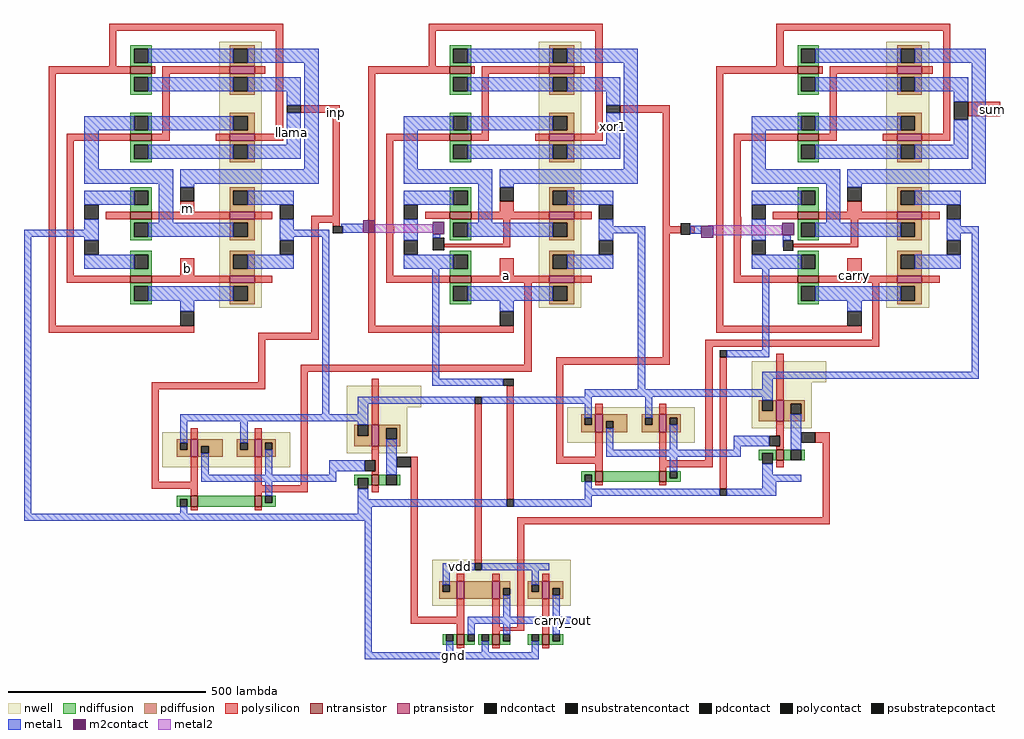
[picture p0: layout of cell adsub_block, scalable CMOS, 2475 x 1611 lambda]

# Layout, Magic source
magic
tech scmos
<< nwell >>
rect -756 108 -648 783
rect 54 108 162 783
rect 936 108 1044 783
rect 594 -81 783 -27
rect -432 -144 -243 -90
rect -900 -297 -576 -207
rect -432 -252 -279 -144
rect 126 -234 450 -144
rect 594 -189 747 -81
rect 594 -198 657 -189
rect 675 -198 747 -189
rect -432 -261 -369 -252
rect -351 -261 -279 -252
rect -216 -648 135 -531
<< ntransistor >>
rect -981 702 -927 720
rect -171 702 -117 720
rect -981 531 -927 549
rect -981 333 -927 351
rect -981 171 -927 189
rect 711 702 765 720
rect -171 531 -117 549
rect -171 334 -117 351
rect -166 333 -117 334
rect -171 171 -117 189
rect 711 531 765 549
rect 711 333 765 351
rect 711 171 765 189
rect -369 -342 -351 -315
rect -828 -396 -810 -369
rect -666 -396 -648 -369
rect 198 -333 216 -306
rect 360 -333 378 -306
rect 657 -279 675 -252
rect -153 -747 -135 -720
rect -63 -747 -45 -720
rect 63 -747 81 -720
<< ptransistor >>
rect -729 702 -666 720
rect 81 702 144 720
rect -729 531 -666 549
rect -729 333 -666 351
rect -729 171 -666 189
rect 963 702 1026 720
rect 81 531 144 549
rect 81 333 144 351
rect 81 171 144 189
rect 963 531 1026 549
rect 963 333 1026 351
rect 963 171 1026 189
rect -828 -270 -810 -225
rect -666 -270 -648 -225
rect -369 -243 -351 -189
rect 198 -207 216 -162
rect 360 -207 378 -162
rect 657 -180 675 -126
rect -153 -630 -135 -585
rect -63 -630 -45 -585
rect 63 -630 81 -585
<< ndiffusion >>
rect -981 765 -927 774
rect -981 729 -972 765
rect -936 729 -927 765
rect -981 720 -927 729
rect -981 693 -927 702
rect -981 657 -972 693
rect -936 657 -927 693
rect -981 648 -927 657
rect -981 594 -927 603
rect -981 558 -972 594
rect -936 558 -927 594
rect -981 549 -927 558
rect -171 765 -117 774
rect -171 729 -162 765
rect -126 729 -117 765
rect -171 720 -117 729
rect -981 522 -927 531
rect -981 486 -972 522
rect -936 486 -927 522
rect -981 477 -927 486
rect -981 405 -927 414
rect -981 369 -972 405
rect -936 369 -927 405
rect -981 351 -927 369
rect -981 324 -927 333
rect -981 288 -972 324
rect -936 288 -927 324
rect -981 279 -927 288
rect -981 243 -927 252
rect -981 207 -972 243
rect -936 207 -927 243
rect -981 189 -927 207
rect -981 162 -927 171
rect -981 126 -972 162
rect -936 126 -927 162
rect -981 117 -927 126
rect -171 693 -117 702
rect -171 657 -162 693
rect -126 657 -117 693
rect -171 648 -117 657
rect -171 594 -117 603
rect -171 558 -162 594
rect -126 558 -117 594
rect -171 549 -117 558
rect 711 765 765 774
rect 711 729 720 765
rect 756 729 765 765
rect 711 720 765 729
rect -171 522 -117 531
rect -171 486 -162 522
rect -126 486 -117 522
rect -171 477 -117 486
rect -171 405 -117 414
rect -171 369 -162 405
rect -126 369 -117 405
rect -171 351 -117 369
rect -171 333 -166 334
rect -171 324 -117 333
rect -171 288 -162 324
rect -126 288 -117 324
rect -171 279 -117 288
rect -171 243 -117 252
rect -171 207 -162 243
rect -126 207 -117 243
rect -171 189 -117 207
rect -171 162 -117 171
rect -171 126 -162 162
rect -126 126 -117 162
rect -171 117 -117 126
rect 711 693 765 702
rect 711 657 720 693
rect 756 657 765 693
rect 711 648 765 657
rect 711 594 765 603
rect 711 558 720 594
rect 756 558 765 594
rect 711 549 765 558
rect 711 522 765 531
rect 711 486 720 522
rect 756 486 765 522
rect 711 477 765 486
rect 711 405 765 414
rect 711 369 720 405
rect 756 369 765 405
rect 711 351 765 369
rect 711 324 765 333
rect 711 288 720 324
rect 756 288 765 324
rect 711 279 765 288
rect 711 243 765 252
rect 711 207 720 243
rect 756 207 765 243
rect 711 189 765 207
rect 711 162 765 171
rect 711 126 720 162
rect 756 126 765 162
rect 711 117 765 126
rect -414 -324 -369 -315
rect -414 -342 -405 -324
rect -378 -342 -369 -324
rect -351 -342 -333 -315
rect -306 -342 -297 -315
rect -864 -378 -828 -369
rect -864 -396 -855 -378
rect -837 -396 -828 -378
rect -810 -396 -666 -369
rect -648 -387 -639 -369
rect -621 -387 -612 -369
rect -648 -396 -612 -387
rect 162 -315 198 -306
rect 162 -333 171 -315
rect 189 -333 198 -315
rect 216 -333 360 -306
rect 378 -324 387 -306
rect 405 -324 414 -306
rect 378 -333 414 -324
rect 612 -261 657 -252
rect 612 -279 621 -261
rect 648 -279 657 -261
rect 675 -279 693 -252
rect 720 -279 729 -252
rect -189 -738 -180 -720
rect -162 -738 -153 -720
rect -189 -747 -153 -738
rect -135 -738 -126 -720
rect -135 -747 -108 -738
rect -99 -738 -90 -720
rect -72 -738 -63 -720
rect -99 -747 -63 -738
rect -45 -738 -36 -720
rect -45 -747 -18 -738
rect 27 -738 36 -720
rect 54 -738 63 -720
rect 27 -747 63 -738
rect 81 -738 90 -720
rect 108 -738 117 -720
rect 81 -747 117 -738
<< pdiffusion >>
rect -729 765 -666 774
rect -729 729 -720 765
rect -684 729 -666 765
rect -729 720 -666 729
rect -729 693 -666 702
rect -729 657 -720 693
rect -684 657 -666 693
rect -729 648 -666 657
rect -729 594 -666 603
rect -729 558 -720 594
rect -684 558 -666 594
rect -729 549 -666 558
rect 81 765 144 774
rect 81 729 90 765
rect 126 729 144 765
rect 81 720 144 729
rect -729 522 -666 531
rect -729 486 -720 522
rect -684 486 -666 522
rect -729 477 -666 486
rect -729 405 -666 414
rect -729 369 -720 405
rect -684 369 -666 405
rect -729 351 -666 369
rect -729 324 -666 333
rect -729 288 -720 324
rect -684 288 -666 324
rect -729 279 -666 288
rect -729 243 -666 252
rect -729 207 -720 243
rect -684 207 -666 243
rect -729 189 -666 207
rect -729 162 -666 171
rect -729 126 -720 162
rect -684 126 -666 162
rect -729 117 -666 126
rect 81 693 144 702
rect 81 657 90 693
rect 126 657 144 693
rect 81 648 144 657
rect 81 594 144 603
rect 81 558 90 594
rect 126 558 144 594
rect 81 549 144 558
rect 963 765 1026 774
rect 963 729 972 765
rect 1008 729 1026 765
rect 963 720 1026 729
rect 81 522 144 531
rect 81 486 90 522
rect 126 486 144 522
rect 81 477 144 486
rect 81 405 144 414
rect 81 369 90 405
rect 126 369 144 405
rect 81 351 144 369
rect 81 324 144 333
rect 81 288 90 324
rect 126 288 144 324
rect 81 279 144 288
rect 81 243 144 252
rect 81 207 90 243
rect 126 207 144 243
rect 81 189 144 207
rect 81 162 144 171
rect 81 126 90 162
rect 126 126 144 162
rect 81 117 144 126
rect 963 693 1026 702
rect 963 657 972 693
rect 1008 657 1026 693
rect 963 648 1026 657
rect 963 594 1026 603
rect 963 558 972 594
rect 1008 558 1026 594
rect 963 549 1026 558
rect 963 522 1026 531
rect 963 486 972 522
rect 1008 486 1026 522
rect 963 477 1026 486
rect 963 405 1026 414
rect 963 369 972 405
rect 1008 369 1026 405
rect 963 351 1026 369
rect 963 324 1026 333
rect 963 288 972 324
rect 1008 288 1026 324
rect 963 279 1026 288
rect 963 243 1026 252
rect 963 207 972 243
rect 1008 207 1026 243
rect 963 189 1026 207
rect 963 162 1026 171
rect 963 126 972 162
rect 1008 126 1026 162
rect 963 117 1026 126
rect -864 -234 -828 -225
rect -864 -252 -855 -234
rect -837 -252 -828 -234
rect -864 -270 -828 -252
rect -810 -243 -747 -225
rect -810 -261 -801 -243
rect -783 -261 -747 -243
rect -810 -270 -747 -261
rect -711 -234 -666 -225
rect -711 -252 -702 -234
rect -684 -252 -666 -234
rect -711 -270 -666 -252
rect -648 -234 -612 -225
rect -648 -252 -639 -234
rect -621 -252 -612 -234
rect -648 -270 -612 -252
rect -414 -216 -405 -189
rect -378 -216 -369 -189
rect -414 -243 -369 -216
rect -351 -198 -297 -189
rect -351 -225 -333 -198
rect -306 -225 -297 -198
rect -351 -243 -297 -225
rect 162 -171 198 -162
rect 162 -189 171 -171
rect 189 -189 198 -171
rect 162 -207 198 -189
rect 216 -180 279 -162
rect 216 -198 225 -180
rect 243 -198 279 -180
rect 216 -207 279 -198
rect 315 -171 360 -162
rect 315 -189 324 -171
rect 342 -189 360 -171
rect 315 -207 360 -189
rect 378 -171 414 -162
rect 378 -189 387 -171
rect 405 -189 414 -171
rect 378 -207 414 -189
rect 612 -153 621 -126
rect 648 -153 657 -126
rect 612 -180 657 -153
rect 675 -135 729 -126
rect 675 -162 693 -135
rect 720 -162 729 -135
rect 675 -180 729 -162
rect -198 -594 -153 -585
rect -198 -612 -189 -594
rect -171 -612 -153 -594
rect -198 -630 -153 -612
rect -135 -630 -63 -585
rect -45 -603 -18 -585
rect -45 -621 -36 -603
rect -45 -630 -18 -621
rect 27 -594 63 -585
rect 27 -612 36 -594
rect 54 -612 63 -594
rect 27 -630 63 -612
rect 81 -603 117 -585
rect 81 -621 90 -603
rect 108 -621 117 -603
rect 81 -630 117 -621
<< ndcontact >>
rect -972 729 -936 765
rect -972 657 -936 693
rect -972 558 -936 594
rect -162 729 -126 765
rect -972 486 -936 522
rect -972 369 -936 405
rect -972 288 -936 324
rect -972 207 -936 243
rect -972 126 -936 162
rect -162 657 -126 693
rect -162 558 -126 594
rect 720 729 756 765
rect -162 486 -126 522
rect -162 369 -126 405
rect -162 288 -126 324
rect -162 207 -126 243
rect -162 126 -126 162
rect 720 657 756 693
rect 720 558 756 594
rect 720 486 756 522
rect 720 369 756 405
rect 720 288 756 324
rect 720 207 756 243
rect 720 126 756 162
rect -405 -351 -378 -324
rect -333 -342 -306 -315
rect -855 -396 -837 -378
rect -639 -387 -621 -369
rect 171 -333 189 -315
rect 387 -324 405 -306
rect 621 -288 648 -261
rect 693 -279 720 -252
rect -180 -738 -162 -720
rect -126 -738 -108 -720
rect -90 -738 -72 -720
rect -36 -738 -18 -720
rect 36 -738 54 -720
rect 90 -738 108 -720
<< pdcontact >>
rect -720 729 -684 765
rect -720 657 -684 693
rect -720 558 -684 594
rect 90 729 126 765
rect -720 486 -684 522
rect -720 369 -684 405
rect -720 288 -684 324
rect -720 207 -684 243
rect -720 126 -684 162
rect 90 657 126 693
rect 90 558 126 594
rect 972 729 1008 765
rect 90 486 126 522
rect 90 369 126 405
rect 90 288 126 324
rect 90 207 126 243
rect 90 126 126 162
rect 972 657 1008 693
rect 972 558 1008 594
rect 972 486 1008 522
rect 972 369 1008 405
rect 972 288 1008 324
rect 972 207 1008 243
rect 972 126 1008 162
rect -855 -252 -837 -234
rect -801 -261 -783 -243
rect -702 -252 -684 -234
rect -639 -252 -621 -234
rect -405 -216 -378 -189
rect -333 -225 -306 -198
rect 171 -189 189 -171
rect 225 -198 243 -180
rect 324 -189 342 -171
rect 387 -189 405 -171
rect 621 -153 648 -126
rect 693 -162 720 -135
rect -189 -612 -171 -594
rect -36 -621 -18 -603
rect 36 -612 54 -594
rect 90 -621 108 -603
<< psubstratepcontact >>
rect -1098 333 -1062 369
rect -1098 243 -1062 279
rect -288 333 -252 369
rect -288 243 -252 279
rect 594 333 630 369
rect 594 243 630 279
<< nsubstratencontact >>
rect -603 333 -567 369
rect -603 243 -567 279
rect 207 333 243 369
rect 207 243 243 279
rect 1089 333 1125 369
rect 1089 243 1125 279
<< polysilicon >>
rect -1035 810 -594 828
rect -1035 720 -1017 810
rect -1188 702 -981 720
rect -927 702 -918 720
rect -900 702 -729 720
rect -666 702 -639 720
rect -1188 63 -1170 702
rect -900 549 -882 702
rect -612 549 -594 810
rect -225 810 216 828
rect -225 720 -207 810
rect -378 702 -171 720
rect -117 702 -108 720
rect -90 702 81 720
rect 144 702 171 720
rect -549 603 -450 621
rect -1143 531 -981 549
rect -927 531 -882 549
rect -765 531 -729 549
rect -666 531 -594 549
rect -1143 189 -1125 531
rect -855 351 -819 378
rect -1044 333 -981 351
rect -927 333 -729 351
rect -666 333 -621 351
rect -468 342 -450 603
rect -522 324 -450 342
rect -855 189 -819 234
rect -1143 171 -981 189
rect -927 171 -729 189
rect -666 171 -621 189
rect -1188 45 -819 63
rect -522 45 -504 324
rect -468 315 -450 324
rect -443 297 -441 315
rect -378 63 -360 702
rect -90 549 -72 702
rect 198 549 216 810
rect 657 810 1098 828
rect 657 720 675 810
rect 504 702 711 720
rect 765 702 774 720
rect 792 702 963 720
rect 1026 702 1053 720
rect 261 603 387 621
rect -333 531 -171 549
rect -117 531 -72 549
rect 45 531 81 549
rect 144 531 216 549
rect -333 315 -315 531
rect -45 351 -9 378
rect -234 334 -171 351
rect -117 333 81 351
rect 144 333 189 351
rect -333 297 -312 315
rect -333 189 -315 297
rect -36 270 -18 333
rect 369 315 387 603
rect 369 297 414 315
rect -185 261 -18 270
rect -45 189 -9 234
rect -333 171 -171 189
rect -117 171 81 189
rect 144 171 189 189
rect -378 45 -9 63
rect -657 27 -504 45
rect -657 -81 -639 27
rect 18 -36 36 171
rect 369 -18 387 297
rect 438 297 450 315
rect 504 63 522 702
rect 792 549 810 702
rect 1080 549 1098 810
rect 1143 594 1224 630
rect 549 531 711 549
rect 765 531 810 549
rect 927 531 963 549
rect 1026 531 1098 549
rect 549 337 567 531
rect 549 285 568 337
rect 837 351 873 378
rect 648 333 711 351
rect 765 333 963 351
rect 1026 333 1071 351
rect 549 189 567 285
rect 846 270 864 333
rect 700 261 864 270
rect 837 189 873 234
rect 549 171 711 189
rect 765 171 963 189
rect 1026 171 1071 189
rect 504 45 873 63
rect 900 27 918 171
rect -927 -99 -639 -81
rect -549 -54 36 -36
rect 99 -36 387 -18
rect 477 9 918 27
rect -927 -333 -909 -99
rect -828 -225 -810 -198
rect -666 -225 -648 -198
rect -828 -333 -810 -270
rect -927 -351 -810 -333
rect -828 -369 -810 -351
rect -666 -342 -648 -270
rect -549 -342 -531 -54
rect -369 -189 -351 -72
rect -369 -279 -351 -243
rect -360 -306 -351 -279
rect -369 -315 -351 -306
rect -666 -360 -531 -342
rect -369 -360 -351 -342
rect -666 -369 -648 -360
rect -828 -405 -810 -396
rect -666 -405 -648 -396
rect -270 -675 -252 -270
rect -108 -540 -90 -135
rect -27 -378 -9 -90
rect 99 -270 117 -36
rect 198 -162 216 -135
rect 360 -162 378 -135
rect 198 -270 216 -207
rect 99 -288 216 -270
rect 198 -306 216 -288
rect 360 -279 378 -207
rect 477 -279 495 9
rect 360 -297 495 -279
rect 360 -306 378 -297
rect 198 -342 216 -333
rect 360 -342 378 -333
rect 513 -351 531 -18
rect 657 -126 675 -9
rect 657 -216 675 -180
rect 666 -243 675 -216
rect 756 -234 792 -207
rect 657 -252 675 -243
rect 657 -297 675 -279
rect 774 -423 792 -234
rect 0 -441 792 -423
rect -153 -585 -135 -567
rect -63 -585 -45 -567
rect -153 -675 -135 -630
rect -270 -693 -135 -675
rect -153 -720 -135 -693
rect -63 -702 -45 -630
rect 0 -702 18 -441
rect 63 -585 81 -567
rect -63 -711 18 -702
rect 63 -675 81 -630
rect 72 -693 81 -675
rect -63 -720 -45 -711
rect 63 -720 81 -693
rect -153 -756 -135 -747
rect -63 -756 -45 -747
rect 63 -756 81 -747
<< polycontact >>
rect -585 603 -549 621
rect -855 378 -819 414
rect -855 63 -819 99
rect -468 297 -443 315
rect 225 603 261 621
rect -45 378 -9 414
rect -214 254 -185 286
rect -45 63 -9 99
rect 414 293 438 322
rect 1107 585 1143 630
rect 837 378 873 414
rect 674 253 700 279
rect 837 63 873 99
rect -36 -90 -9 -72
rect -108 -135 -90 -117
rect -387 -306 -360 -279
rect -306 -297 -270 -270
rect 513 -18 531 0
rect 639 -243 666 -216
rect 720 -234 756 -207
rect 513 -369 531 -351
rect -27 -396 -9 -378
rect -108 -558 -90 -540
rect 63 -693 72 -675
<< metal1 >>
rect -936 729 -720 765
rect -684 729 -504 765
rect -126 729 90 765
rect 126 729 306 765
rect 756 729 972 765
rect 1008 729 1188 765
rect -936 657 -720 693
rect -684 657 -549 693
rect -585 621 -549 657
rect -1098 558 -972 594
rect -936 558 -720 594
rect -1098 459 -1062 558
rect -585 522 -549 603
rect -936 486 -720 522
rect -684 486 -549 522
rect -540 459 -504 729
rect -126 657 90 693
rect 126 657 261 693
rect 225 621 261 657
rect -1098 423 -873 459
rect -1098 369 -972 405
rect -1098 306 -1062 333
rect -909 324 -873 423
rect -855 423 -504 459
rect -288 558 -162 594
rect -126 558 90 594
rect -288 459 -252 558
rect 225 522 261 603
rect -126 486 90 522
rect 126 486 261 522
rect 270 459 306 729
rect 756 657 972 693
rect 1008 657 1143 693
rect 1107 630 1143 657
rect -288 423 -63 459
rect -855 414 -819 423
rect -684 369 -567 405
rect -1251 288 -1062 306
rect -936 288 -720 324
rect -603 306 -567 333
rect -288 369 -162 405
rect -447 315 -391 321
rect -603 288 -477 306
rect -443 298 -391 315
rect -1251 -414 -1233 288
rect -1098 279 -1062 288
rect -603 279 -567 288
rect -1098 207 -972 243
rect -684 207 -567 243
rect -936 126 -720 162
rect -855 99 -819 126
rect -495 -162 -477 288
rect -288 279 -252 333
rect -99 324 -63 423
rect -45 423 306 459
rect 594 558 720 594
rect 756 558 972 594
rect 594 459 630 558
rect 1107 522 1143 585
rect 756 486 972 522
rect 1008 486 1143 522
rect 1152 459 1188 729
rect 594 423 819 459
rect -45 414 -9 423
rect 126 369 243 405
rect -214 286 -195 294
rect -126 288 90 324
rect 207 315 243 333
rect 594 369 720 405
rect 207 297 324 315
rect 207 279 243 297
rect -288 207 -162 243
rect 126 207 243 243
rect -216 -72 -198 207
rect -126 126 90 162
rect -45 99 -9 126
rect -216 -90 -36 -72
rect 306 -99 324 297
rect 438 296 467 316
rect 594 315 630 333
rect 783 324 819 423
rect 837 423 1188 459
rect 837 414 873 423
rect 1008 369 1125 405
rect 593 297 630 315
rect 594 279 630 297
rect 673 279 693 292
rect 756 288 972 324
rect 1089 315 1125 333
rect 1089 297 1170 315
rect 1089 279 1125 297
rect 673 263 674 279
rect 594 207 720 243
rect 1008 207 1125 243
rect 621 0 639 207
rect 756 126 972 162
rect 837 99 873 126
rect 531 -18 639 0
rect 1152 -54 1170 297
rect 621 -72 1170 -54
rect 621 -99 648 -72
rect 171 -117 648 -99
rect -405 -135 -108 -117
rect -90 -135 189 -117
rect -405 -162 -378 -135
rect -855 -180 -378 -162
rect -855 -234 -837 -180
rect -702 -234 -684 -180
rect -405 -189 -378 -180
rect 171 -171 189 -135
rect 324 -171 342 -117
rect 621 -126 648 -117
rect -801 -315 -783 -261
rect -639 -315 -621 -252
rect -477 -306 -387 -279
rect -477 -315 -459 -306
rect -801 -333 -459 -315
rect -333 -315 -306 -225
rect 225 -252 243 -198
rect 387 -252 405 -189
rect 549 -243 639 -216
rect 549 -252 567 -243
rect 225 -270 567 -252
rect 693 -252 720 -162
rect 387 -306 405 -270
rect -639 -369 -621 -333
rect 621 -315 648 -288
rect -405 -378 -378 -351
rect 171 -351 189 -333
rect 621 -333 720 -315
rect 621 -351 657 -333
rect 171 -369 513 -351
rect 531 -369 657 -351
rect 171 -378 189 -369
rect -855 -414 -837 -396
rect -405 -396 -27 -378
rect -9 -396 189 -378
rect -405 -414 -369 -396
rect -1251 -432 -369 -414
rect -387 -765 -369 -432
rect -189 -558 -108 -540
rect -90 -558 81 -540
rect -189 -594 -171 -558
rect 36 -594 54 -558
rect -36 -675 -18 -621
rect 90 -675 108 -621
rect -126 -693 63 -675
rect 90 -693 135 -675
rect -126 -720 -108 -693
rect -36 -720 -18 -693
rect 90 -720 108 -693
rect -180 -765 -162 -738
rect -90 -765 -72 -738
rect 36 -765 54 -738
rect -387 -783 54 -765
<< m2contact >>
rect -391 298 -362 330
rect -214 294 -185 326
rect 467 285 497 316
rect 672 292 702 323
<< metal2 >>
rect -392 298 -391 320
rect -362 298 -214 320
rect 484 316 672 317
rect 497 292 672 316
<< labels >>
rlabel polysilicon -837 207 -837 207 1 b
rlabel polysilicon -837 360 -837 360 1 m
rlabel polysilicon -27 189 -27 189 1 a
rlabel metal1 243 567 243 567 1 xor1
rlabel polysilicon 855 189 855 189 1 carry
rlabel polysilicon 1206 612 1206 612 7 sum
rlabel metal1 117 -684 117 -684 1 carry_out
rlabel metal1 -162 -774 -162 -774 1 gnd
rlabel metal1 -144 -549 -144 -549 1 vdd
rlabel polysilicon -459 603 -459 603 1 inp
rlabel metal1 -574 553 -573 554 1 llama
<< end >>
